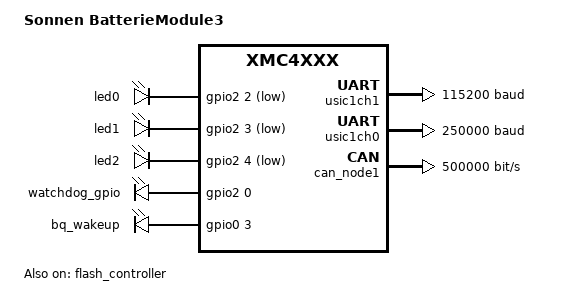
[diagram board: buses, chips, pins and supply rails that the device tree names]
/dts-v1/;

#include <infineon/cat3/xmc/xmc4400_F64x512.dtsi>
#include <infineon/cat3/xmc/xmc4400_F64x512-intc.dtsi>
#include "batteriemodule3-pinctrl.dtsi"

/ {
	model = "Sonnen BatterieModule3";
	compatible = "sonnen,batteriemodule3", "infineon,xmc4400",
						"infineon,xmc4xxx";

	aliases {
		die-temp0 = &die_temp;
		watchdog0 = &wdt0;
		rtc = &rtc;
		led0 = &led0;
		led1 = &led1;
		led2 = &led2;
		watchdogreset = &watchdog_gpio;
		bquart = &usic1ch0;
		bqwakeup = &bq_wakeup;
	};

	leds {
		compatible = "gpio-leds";

		led0: led_0 {
			gpios = <&gpio2 2 GPIO_ACTIVE_LOW>;
		};

		led1: led_1 {
			gpios = <&gpio2 3 GPIO_ACTIVE_LOW>;
		};

		led2: led_2 {
			gpios = <&gpio2 4 GPIO_ACTIVE_LOW>;
		};

		watchdog_gpio: watchdog_gpio {
			gpios = <&gpio2 0 GPIO_ACTIVE_HIGH>;
		};

		bq_wakeup: bq_wakeup {
			gpios = <&gpio0 3 GPIO_ACTIVE_HIGH>;
		};
	};

	chosen {
		zephyr,sram = &dsram1;
		zephyr,flash = &flash0;
		zephyr,console = &usic1ch1;
		zephyr,shell-uart = &usic1ch1;
		zephyr,flash-controller = &flash_controller;
		zephyr,code-partition = &code_partition;
		zephyr,canbus = &can_node1;
	};
};

&psram1 {
	compatible = "zephyr,memory-region", "mmio-sram";
	zephyr,memory-region = "PSRAM1";
};

&dsram2 {
	compatible = "zephyr,memory-region", "mmio-sram";
	zephyr,memory-region = "DSRAM2";
};

&flash_controller {
	status = "okay";
};

&flash0 {
	partitions {
		compatible = "fixed-partitions";
		#address-cells = <1>;
		#size-cells = <1>;

		code_partition: partition@0 {
			reg = <0x0 0x80000>;
			read-only;
		};

		storage_partition: partition@80000 {
			label = "storage";
			reg = <0x80000 0x80000>;
		};
	};
};

&cpu0 {
	clock-frequency = <120000000>;
};

&usic1ch1 {
	compatible = "infineon,xmc4xxx-uart";
	current-speed = <115200>;
	pinctrl-0 = <&uart_tx_p0_1_u1c1 &uart_rx_p0_0_u1c1>;
	pinctrl-names = "default";
	input-src = "DX0D";
	interrupts = <90 1 91 1>;
	interrupt-names = "tx", "rx";
	fifo-start-offset = <0>;
	fifo-tx-size = <0>;
	fifo-rx-size = <0>;
	status = "okay";
};

&usic1ch0 {
	compatible = "infineon,xmc4xxx-uart";
	current-speed = <250000>;
	stop-bits = "1";
	pinctrl-0 = <&uart_tx_p0_5_u1c0 &uart_rx_p0_4_u1c0>;
	pinctrl-names = "default";
	input-src = "DX0A";
	interrupts = <94 1 95 1>;
	interrupt-names = "tx_bq", "rx_bq";
	fifo-start-offset = <0>;
	fifo-tx-size = <0>;
	fifo-rx-size = <64>;
	status = "okay";
};


&gpio0 {
	status = "okay";
};

&gpio1 {
	status = "okay";
};

&gpio2 {
	status = "okay";
};

&can {
	message-objects = <64>;
	clock-prescaler = <6>;
};

&can_node1 {
	status = "okay";
	input-src = "RXDA";
	pinctrl-0 = <&can_tx_p2_7_node1 &can_rx_p2_6_node1>;
	pinctrl-names = "default";
	bus-speed = <500000>;
};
